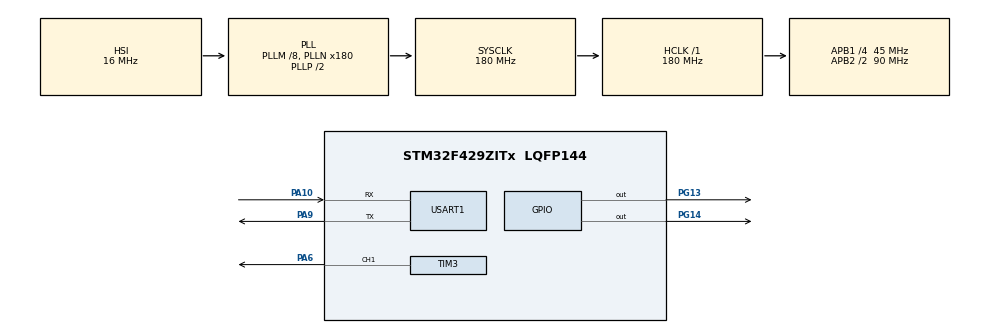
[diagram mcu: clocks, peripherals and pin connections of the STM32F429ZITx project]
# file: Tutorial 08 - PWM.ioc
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Mcu.Family=STM32F4
Mcu.Name=STM32F429ZITx
Mcu.Package=LQFP144
NVIC.PriorityGroup=NVIC_PRIORITYGROUP_4
NVIC.TIM4_IRQn=true\:0\:0\:false\:false\:true\:true\:true
NVIC.USART1_IRQn=true\:0\:0\:false\:false\:true\:true\:true
PA10.Mode=Asynchronous
PA10.Signal=USART1_RX
PA6.Signal=S_TIM3_CH1
PA9.Mode=Asynchronous
PA9.Signal=USART1_TX
PG13.Signal=GPIO_Output
PG14.Signal=GPIO_Output
PH0/OSC_IN.Mode=HSE-External-Oscillator
PH0/OSC_IN.Signal=RCC_OSC_IN
PH1/OSC_OUT.Mode=HSE-External-Oscillator
PH1/OSC_OUT.Signal=RCC_OSC_OUT
ProjectManager.HeapSize=0x200
ProjectManager.StackSize=0x400
ProjectManager.TargetToolchain=STM32CubeIDE
RCC.48MHZClocksFreq_Value=90000000
RCC.AHBFreq_Value=180000000
RCC.APB1CLKDivider=RCC_HCLK_DIV4
RCC.APB1Freq_Value=45000000
RCC.APB1TimFreq_Value=90000000
RCC.APB2CLKDivider=RCC_HCLK_DIV2
RCC.APB2Freq_Value=90000000
RCC.APB2TimFreq_Value=180000000
RCC.CortexFreq_Value=180000000
RCC.HCLKFreq_Value=180000000
RCC.HSE_VALUE=8000000
RCC.HSI_VALUE=16000000
RCC.LSE_VALUE=32768
RCC.PLLM=8
RCC.PLLN=180
RCC.SYSCLKFreq_VALUE=180000000
RCC.SYSCLKSource=RCC_SYSCLKSOURCE_PLLCLK
RCC.VCOOutputFreq_Value=360000000
SH.S_TIM3_CH1.0=TIM3_CH1,PWM Generation1 CH1
TIM3.AutoReloadPreload=TIM_AUTORELOAD_PRELOAD_ENABLE
TIM3.Channel-PWM\ Generation1\ CH1=TIM_CHANNEL_1
TIM3.Period=2400
TIM3.Prescaler=90-1
TIM3.Pulse-PWM\ Generation1\ CH1=1500
TIM4.AutoReloadPreload=TIM_AUTORELOAD_PRELOAD_ENABLE
TIM4.Channel-Output\ Compare1\ No\ Output=TIM_CHANNEL_1
TIM4.Channel-Output\ Compare2\ No\ Output=TIM_CHANNEL_2
TIM4.OC1Preload=DISABLE
TIM4.OC2Preload=DISABLE
TIM4.Period=20000
TIM4.Prescaler=90-1
TIM4.Pulse-Output\ Compare1\ No\ Output=10000
TIM4.Pulse-Output\ Compare2\ No\ Output=10000
USART1.VirtualMode=VM_ASYNC
VP_TIM4_VS_no_output1.Mode=Output Compare1 No Output
VP_TIM4_VS_no_output2.Mode=Output Compare2 No Output
board=custom

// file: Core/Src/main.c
/* USER CODE BEGIN Header */
/**
  ******************************************************************************
  * @file           : main.c
  * @brief          : Main program body
  ******************************************************************************
  * @attention
  *
  * <h2><center>&copy; Copyright (c) 2021 STMicroelectronics.
  * All rights reserved.</center></h2>
  *
  * This software component is licensed by ST under BSD 3-Clause license,
  * the "License"; You may not use this file except in compliance with the
  * License. You may obtain a copy of the License at:
  *                        opensource.org/licenses/BSD-3-Clause
  *
  ******************************************************************************
  */
/* USER CODE END Header */
#include "main.h"
#include "tim.h"
#include "usart.h"
#include "gpio.h"

/* USER CODE BEGIN Includes */
#include "utility.h"
/* USER CODE END Includes */

/* USER CODE BEGIN PV */

uint8_t rxData;

/* USER CODE END PV */

void SystemClock_Config(void);
/* USER CODE BEGIN PFP */
int _write(int file, char *ptr, int len)
{
  HAL_UART_Transmit(&huart1, (uint8_t *)ptr, len, 10);
  return len;
}
/* USER CODE END PFP */

int main(void)
{

  /* MCU Configuration--------------------------------------------------------*/

  /* Reset of all peripherals, Initializes the Flash interface and the Systick. */
  HAL_Init();

  /* Configure the system clock */
  SystemClock_Config();

  /* Initialize all configured peripherals */
  MX_GPIO_Init();
  MX_USART1_UART_Init();
  MX_TIM4_Init();
  MX_TIM3_Init();
  /* USER CODE BEGIN 2 */

//  DWT_Delay_Init();

  HAL_UART_Receive_IT(&huart1, &rxData, 1); // uart interrupt receive start

  // TIMER PWM Start
//  HAL_TIM_PWM_Start(&htim4, TIM_CHANNEL_1);
//  HAL_TIM_PWM_Start(&htim4, TIM_CHANNEL_2);

  // TIMER PWM OutPut Compare Interrupt Start
  HAL_TIM_Base_Start_IT(&htim4);
  HAL_TIM_PWM_Start_IT(&htim4, TIM_CHANNEL_1);
  HAL_TIM_PWM_Start_IT(&htim4, TIM_CHANNEL_2);

  // Servo MOTOR PWM : 2.4ms (2400us)
  HAL_TIM_Base_Start(&htim3);
  HAL_TIM_PWM_Start(&htim3, TIM_CHANNEL_1);

  /* USER CODE END 2 */

  /* Infinite loop */
  /* USER CODE BEGIN WHILE */

  bool ccr1bool = true;
  bool ccr2bool = false;
  bool mccrbool = true;

  uint16_t ccr1 = 10000;
  uint16_t ccr2 = 10000;
  uint16_t mccr = 1500;

  while (1)
  {
    // LED Blinking PWM control ----------------------------------
//    __HAL_TIM_SET_COMPARE(&htim4, TIM_CHANNEL_1, ccr1);
    TIM4->CCR1 = ccr1;
//    __HAL_TIM_SET_COMPARE(&htim4, TIM_CHANNEL_2, ccr2);
    TIM4->CCR2 = ccr2;

    if (ccr1 >= TIM4->ARR)
      ccr1bool = false;
    if (ccr1 <= 0)
      ccr1bool = true;

    if (ccr2 >= TIM4->ARR)
      ccr2bool = false;
    if (ccr2 <= 0)
      ccr2bool = true;

    if (ccr1bool)
      ccr1 += 100;
    else
      ccr1 -= 100;

    if (ccr2bool)
      ccr2 += 100;
    else
      ccr2 -= 100;

//printf("%d : ccr1: %d / ccr2: %d\n\r", TIM4->ARR, ccr1, ccr2);

    delay_ms(4);

    /* USER CODE END WHILE */

    /* USER CODE BEGIN 3 */

    // Servo MOTOR PWM control -----------------------------------
    // timer channel 1 control : 800 ~ 2300 us
    TIM3->CCR1 = mccr;

    if (mccr > 2300)
      mccrbool = false;
    if (mccr < 800)
      mccrbool = true;

    if (mccrbool)
      mccr += 2;
    else
      mccr -= 2;

  }
  /* USER CODE END 3 */
}

void SystemClock_Config(void)
{
  RCC_OscInitTypeDef RCC_OscInitStruct = {0};
  RCC_ClkInitTypeDef RCC_ClkInitStruct = {0};

  /** Configure the main internal regulator output voltage
  */
  __HAL_RCC_PWR_CLK_ENABLE();
  __HAL_PWR_VOLTAGESCALING_CONFIG(PWR_REGULATOR_VOLTAGE_SCALE1);
  /** Initializes the RCC Oscillators according to the specified parameters
  * in the RCC_OscInitTypeDef structure.
  */
  RCC_OscInitStruct.OscillatorType = RCC_OSCILLATORTYPE_HSI;
  RCC_OscInitStruct.HSIState = RCC_HSI_ON;
  RCC_OscInitStruct.HSICalibrationValue = RCC_HSICALIBRATION_DEFAULT;
  RCC_OscInitStruct.PLL.PLLState = RCC_PLL_ON;
  RCC_OscInitStruct.PLL.PLLSource = RCC_PLLSOURCE_HSI;
  RCC_OscInitStruct.PLL.PLLM = 8;
  RCC_OscInitStruct.PLL.PLLN = 180;
  RCC_OscInitStruct.PLL.PLLP = RCC_PLLP_DIV2;
  RCC_OscInitStruct.PLL.PLLQ = 4;
  if (HAL_RCC_OscConfig(&RCC_OscInitStruct) != HAL_OK)
  {
    Error_Handler();
  }
  /** Activate the Over-Drive mode
  */
  if (HAL_PWREx_EnableOverDrive() != HAL_OK)
  {
    Error_Handler();
  }
  /** Initializes the CPU, AHB and APB buses clocks
  */
  RCC_ClkInitStruct.ClockType = RCC_CLOCKTYPE_HCLK|RCC_CLOCKTYPE_SYSCLK
                              |RCC_CLOCKTYPE_PCLK1|RCC_CLOCKTYPE_PCLK2;
  RCC_ClkInitStruct.SYSCLKSource = RCC_SYSCLKSOURCE_PLLCLK;
  RCC_ClkInitStruct.AHBCLKDivider = RCC_SYSCLK_DIV1;
  RCC_ClkInitStruct.APB1CLKDivider = RCC_HCLK_DIV4;
  RCC_ClkInitStruct.APB2CLKDivider = RCC_HCLK_DIV2;

  if (HAL_RCC_ClockConfig(&RCC_ClkInitStruct, FLASH_LATENCY_5) != HAL_OK)
  {
    Error_Handler();
  }
}

/* USER CODE BEGIN 4 */

void HAL_UART_RxCpltCallback(UART_HandleTypeDef *huart)
{
  if (huart->Instance == USART1)
  {
    HAL_UART_Receive_IT(&huart1, &rxData, 1);
    HAL_UART_Transmit(&huart1, &rxData, 1, 10);
  }
}

void HAL_TIM_PeriodElapsedCallback(TIM_HandleTypeDef *htim)
{
  if (htim->Instance == TIM4)
  {
    HAL_GPIO_WritePin(GPIOG, GPIO_PIN_14, GPIO_PIN_SET);
    HAL_GPIO_WritePin(GPIOG, GPIO_PIN_13, GPIO_PIN_SET);
  }
}

void HAL_TIM_OC_DelayElapsedCallback(TIM_HandleTypeDef *htim)
{
  if (htim->Instance == TIM4)
  {
    if(htim->Channel == HAL_TIM_ACTIVE_CHANNEL_1)
          HAL_GPIO_WritePin(GPIOG, GPIO_PIN_14, GPIO_PIN_RESET);
    if(htim->Channel == HAL_TIM_ACTIVE_CHANNEL_2)
          HAL_GPIO_WritePin(GPIOG, GPIO_PIN_13, GPIO_PIN_RESET);
  }
}

/* USER CODE END 4 */

void Error_Handler(void)
{
  __disable_irq();
  while (1)
  {
  }
}

/************************ (C) COPYRIGHT STMicroelectronics *****END OF FILE****/
